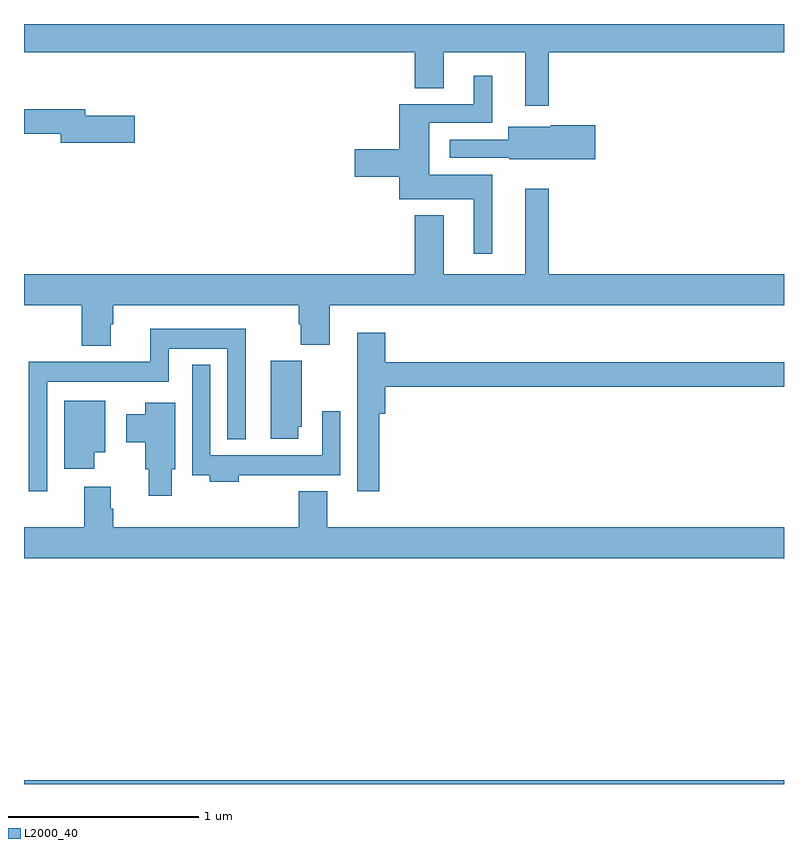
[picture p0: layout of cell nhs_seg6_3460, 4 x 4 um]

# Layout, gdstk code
import gdstk
lib = gdstk.Library(unit=1e-6, precision=1e-09)
def R(c, l, rs):  # rectangles x0, y0, x1, y1
    for r in rs: c.add(gdstk.rectangle(r[:2], r[2:], *l))
def P(c, l, *ps):  # polygons
    for p in ps: c.add(gdstk.Polygon(p, *l))
L2000_40 = (2000, 40)

nhs_seg6_3460 = lib.new_cell('nhs_seg6_3460')
R(nhs_seg6_3460, L2000_40, [(315,927.5,319,927.52)])
P(nhs_seg6_3460, L2000_40, [(317.761,931.352),(319,931.352),(319,931.5),(315,931.5),(315,931.352),(317.057,931.352),(317.057,931.162),(317.209,931.162),(317.209,931.352),(317.639,931.352),(317.639,931.071),(317.761,931.071)],
  [(317.464,930.706),(317.134,930.706),(317.134,930.981),(317.464,930.981),(317.464,931.228),(317.366,931.228),(317.366,931.077),(316.976,931.077),(316.976,930.842),(316.74,930.842),(316.74,930.695),(316.976,930.695),(316.976,930.578),(317.366,930.578),(317.366,930.291),(317.464,930.291)],
  [(315.583,931.017),(315.322,931.017),(315.322,931.051),(315,931.051),(315,930.922),(315.194,930.922),(315.194,930.875),(315.583,930.875)],
  [(318.007,930.966),(317.772,930.966),(317.772,930.958),(317.549,930.958),(317.549,930.891),(317.241,930.891),(317.241,930.795),(317.553,930.795),(317.553,930.788),(318.007,930.788)],
  [(315.457,929.919),(315.47,929.919),(315.47,930.02),(316.445,930.02),(316.445,929.921),(316.457,929.921),(316.457,929.812),(316.61,929.812),(316.61,930.02),(319,930.02),(319,930.184),(317.761,930.184),(317.761,930.634),(317.639,930.634),(317.639,930.184),(317.209,930.184),(317.209,930.493),(317.057,930.493),(317.057,930.184),(315,930.184),(315,930.02),(315.305,930.02),(315.305,929.807),(315.457,929.807)],
  [(315.123,929.618),(315.762,929.618),(315.762,929.792),(316.071,929.792),(316.071,929.315),(316.168,929.315),(316.168,929.896),(315.665,929.896),(315.665,929.722),(315.026,929.722),(315.026,929.04),(315.123,929.04)],
  [(316.871,929.45),(316.901,929.45),(316.901,929.59),(319,929.59),(319,929.719),(316.901,929.719),(316.901,929.875),(316.754,929.875),(316.754,929.613),(316.755,929.613),(316.755,929.04),(316.871,929.04)],
  [(316.444,929.379),(316.462,929.379),(316.462,929.727),(316.298,929.727),(316.298,929.316),(316.444,929.316)],
  [(316.13,929.124),(316.361,929.124),(316.361,929.126),(316.665,929.126),(316.665,929.461),(316.569,929.461),(316.569,929.23),(315.981,929.23),(315.981,929.707),(315.885,929.707),(315.885,929.124),(315.977,929.124),(315.977,929.09),(316.13,929.09)],
  [(315.37,929.246),(315.427,929.246),(315.427,929.518),(315.212,929.518),(315.212,929.16),(315.37,929.16)],
  [(315.778,929.157),(315.796,929.157),(315.796,929.506),(315.638,929.506),(315.638,929.446),(315.539,929.446),(315.539,929.299),(315.638,929.299),(315.638,929.157),(315.656,929.157),(315.656,929.016),(315.778,929.016)],
  [(319,928.852),(316.597,928.852),(316.597,929.041),(316.445,929.041),(316.445,928.852),(315.47,928.852),(315.47,928.95),(315.457,928.95),(315.457,929.065),(315.317,929.065),(315.317,928.852),(315,928.852),(315,928.688),(319,928.688)])

lib.write_gds('nhs_seg6_3460.gds')
